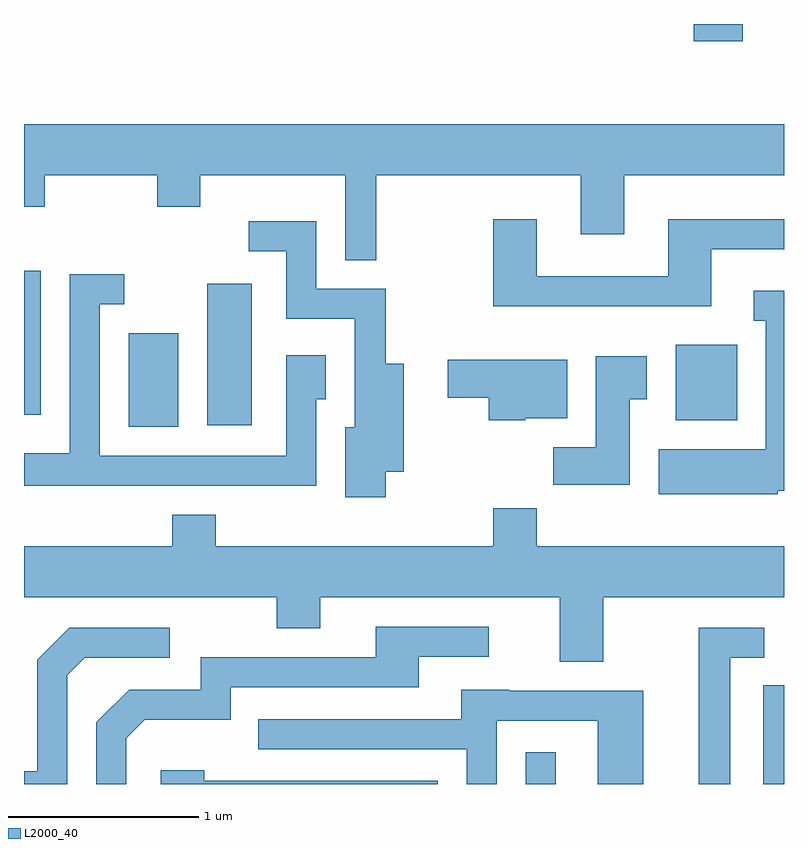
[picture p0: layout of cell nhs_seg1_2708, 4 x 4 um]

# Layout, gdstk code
import gdstk
lib = gdstk.Library(unit=1e-6, precision=1e-09)
def R(c, l, rs):  # rectangles x0, y0, x1, y1
    for r in rs: c.add(gdstk.rectangle(r[:2], r[2:], *l))
def P(c, l, *ps):  # polygons
    for p in ps: c.add(gdstk.Polygon(p, *l))
L2000_40 = (2000, 40)

nhs_seg1_2708 = lib.new_cell('nhs_seg1_2708')
R(nhs_seg1_2708, L2000_40, [(270.251,889.712,270.409,889.878), (271.501,889.712,271.611,890.233), (268.161,891.591,268.424,892.084), (268.576,891.601,268.809,892.344), (271.041,891.626,271.364,892.024), (267.611,891.656,267.699,892.414), (271.136,893.621,271.394,893.712)])
P(nhs_seg1_2708, L2000_40, [(269.464,892.916),(270.541,892.916),(270.541,892.606),(270.769,892.606),(270.769,892.916),(271.611,892.916),(271.611,893.184),(267.611,893.184),(267.611,892.751),(267.719,892.751),(267.719,892.916),(268.311,892.916),(268.311,892.751),(268.539,892.751),(268.539,892.916),(269.301,892.916),(269.301,892.468),(269.464,892.468)],
  [(271.229,892.526),(271.611,892.526),(271.611,892.684),(271.001,892.684),(271.001,892.384),(270.309,892.384),(270.309,892.684),(270.081,892.684),(270.081,892.226),(271.229,892.226)],
  [(269.514,891.356),(269.609,891.356),(269.609,891.924),(269.514,891.924),(269.514,892.319),(269.149,892.319),(269.149,892.674),(268.793,892.674),(268.793,892.516),(268.991,892.516),(268.991,892.161),(269.351,892.161),(269.351,891.589),(269.301,891.589),(269.301,891.221),(269.514,891.221)],
  [(269.149,891.736),(269.199,891.736),(269.199,891.969),(268.991,891.969),(268.991,891.439),(268.009,891.439),(268.009,892.236),(268.138,892.236),(268.138,892.394),(267.851,892.394),(267.851,891.454),(267.611,891.454),(267.611,891.281),(269.149,891.281)],
  [(271.579,891.256),(271.611,891.256),(271.611,892.309),(271.453,892.309),(271.453,892.151),(271.516,892.151),(271.516,891.474),(270.951,891.474),(270.951,891.236),(271.579,891.236)],
  [(270.799,891.736),(270.889,891.736),(270.889,891.964),(270.621,891.964),(270.621,891.484),(270.396,891.484),(270.396,891.286),(270.799,891.286)],
  [(270.25,891.636),(270.469,891.636),(270.469,891.944),(269.841,891.944),(269.841,891.746),(270.056,891.746),(270.056,891.626),(270.25,891.626)],
  [(270.659,890.696),(271.611,890.696),(271.611,890.964),(270.309,890.964),(270.309,891.164),(270.081,891.164),(270.081,890.964),(268.619,890.964),(268.619,891.129),(268.391,891.129),(268.391,890.964),(267.611,890.964),(267.611,890.696),(268.941,890.696),(268.941,890.531),(269.169,890.531),(269.169,890.696),(270.431,890.696),(270.431,890.356),(270.659,890.356)],
  [(268.149,889.954),(268.247,890.051),(268.699,890.051),(268.699,890.221),(269.689,890.221),(269.689,890.381),(270.058,890.381),(270.058,890.539),(269.461,890.539),(269.461,890.379),(268.541,890.379),(268.541,890.209),(268.164,890.209),(267.991,890.037),(267.991,889.712),(268.149,889.712)],
  [(271.329,890.376),(271.508,890.376),(271.508,890.534),(271.161,890.534),(271.161,889.712),(271.329,889.712)],
  [(267.839,890.284),(267.932,890.376),(268.378,890.376),(268.378,890.534),(267.849,890.534),(267.681,890.367),(267.681,889.779),(267.611,889.779),(267.611,889.712),(267.839,889.712)],
  [(270.099,890.046),(270.631,890.046),(270.631,889.712),(270.869,889.712),(270.869,890.204),(270.165,890.204),(270.165,890.209),(269.911,890.209),(269.911,890.054),(268.843,890.054),(268.843,889.896),(269.941,889.896),(269.941,889.712),(270.099,889.712)],
  [(269.789,889.729),(268.559,889.729),(268.559,889.784),(268.331,889.784),(268.331,889.712),(269.789,889.712)])

lib.write_gds('nhs_seg1_2708.gds')
